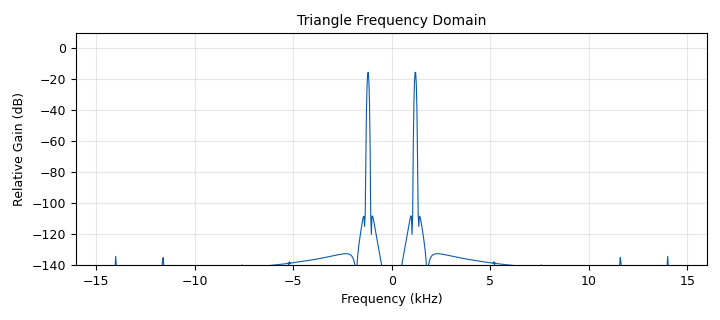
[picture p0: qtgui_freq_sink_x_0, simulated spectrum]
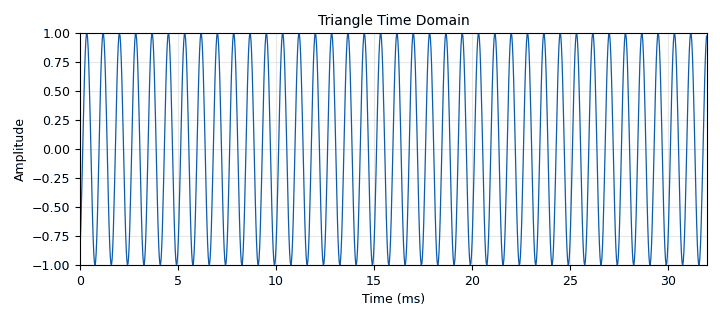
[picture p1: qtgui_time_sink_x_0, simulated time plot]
options:
  parameters:
    author: Erik and Mohsin
    category: ECE440
    description: A block for calculating average power of a signal.
    generate_options: qt_gui
    id: IdealCommSystem
    output_language: python
    title: Power
  states: {}

blocks:
- name: samp_rate
  id: variable
  parameters:
    value: '32000'
  states: {}
- name: analog_sig_source_x_0
  id: analog_sig_source_x
  parameters:
    amp: '1'
    freq: '1200'
    offset: '0'
    phase: '0'
    samp_rate: samp_rate
    type: float
    waveform: analog.GR_COS_WAVE
  states: {}
- name: blocks_throttle_0
  id: blocks_throttle
  parameters:
    samples_per_second: samp_rate
    type: float
  states: {}
- name: power_0
  id: power
  parameters: {}
  states: {}
- name: qtgui_freq_sink_x_0
  id: qtgui_freq_sink_x
  parameters:
    bw: samp_rate
    fc: '0'
    fftsize: '1024'
    name: '"Triangle Frequency Domain"'
    type: float
  states: {}
- name: qtgui_number_sink_0
  id: qtgui_number_sink
  parameters:
    graph_type: qtgui.NUM_GRAPH_HORIZ
    label1: Average Power
    type: float
    unit1: W
  states: {}
- name: qtgui_time_sink_x_0
  id: qtgui_time_sink_x
  parameters:
    name: '"Triangle Time Domain"'
    size: '1024'
    srate: samp_rate
    type: float
  states: {}

connections:
- [analog_sig_source_x_0, '0', blocks_throttle_0, '0']
- [blocks_throttle_0, '0', power_0, '0']
- [blocks_throttle_0, '0', qtgui_freq_sink_x_0, '0']
- [blocks_throttle_0, '0', qtgui_time_sink_x_0, '0']
- [power_0, '0', qtgui_number_sink_0, '0']

metadata:
  file_format: 1
